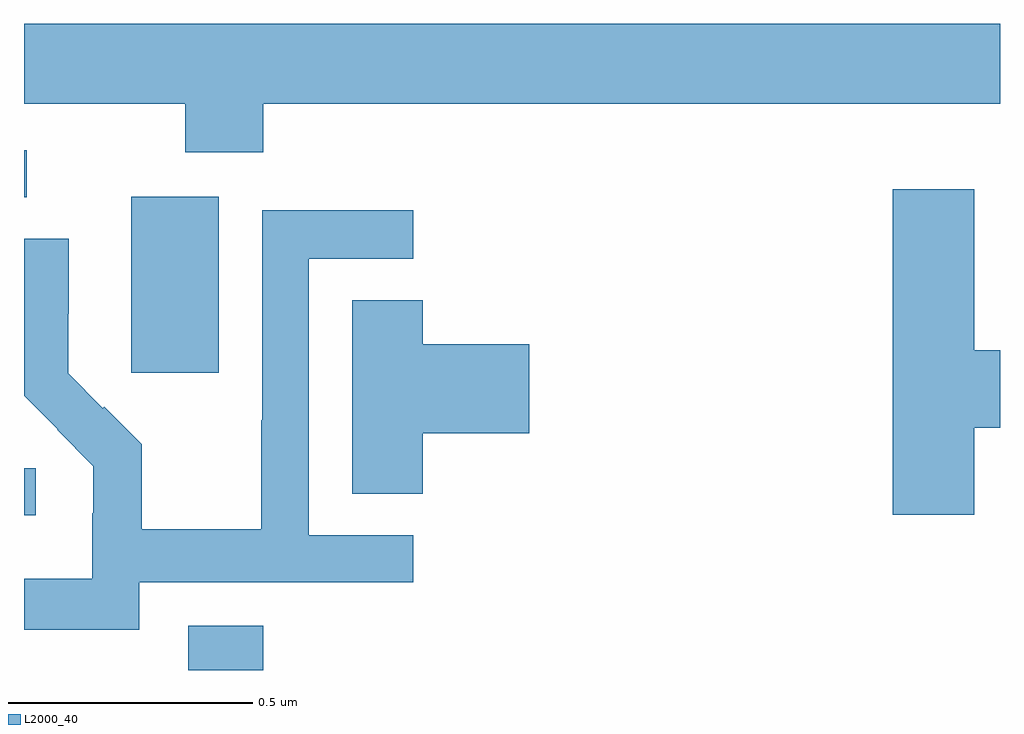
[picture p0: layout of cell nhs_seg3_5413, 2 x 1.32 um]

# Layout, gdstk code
import gdstk
lib = gdstk.Library(unit=1e-6, precision=1e-09)
def R(c, l, rs):  # rectangles x0, y0, x1, y1
    for r in rs: c.add(gdstk.rectangle(r[:2], r[2:], *l))
def P(c, l, *ps):  # polygons
    for p in ps: c.add(gdstk.Polygon(p, *l))
L2000_40 = (2000, 40)

nhs_seg3_5413 = lib.new_cell('nhs_seg3_5413')
R(nhs_seg3_5413, L2000_40, [(178.337,722.4,178.49,722.491), (178,722.717,178.024,722.814), (178.22,723.009,178.399,723.37), (178,723.369,178.006,723.465)])
P(nhs_seg3_5413, L2000_40, [(178.49,723.56),(180,723.56),(180,723.724),(178,723.724),(178,723.56),(178.33,723.56),(178.33,723.461),(178.49,723.461)],
  [(179.947,722.897),(180,722.897),(180,723.055),(179.947,723.055),(179.947,723.385),(179.78,723.385),(179.78,722.718),(179.947,722.718)],
  [(178.236,722.58),(178.798,722.58),(178.798,722.676),(178.584,722.676),(178.584,723.243),(178.798,723.243),(178.798,723.342),(178.488,723.342),(178.488,722.912),(178.486,722.912),(178.486,722.689),(178.241,722.689),(178.241,722.863),(178.164,722.94),(178.161,722.937),(178.091,723.008),(178.091,723.13),(178.092,723.13),(178.092,723.284),(178,723.284),(178,722.962),(178.069,722.893),(178.068,722.892),(178.142,722.818),(178.142,722.721),(178.14,722.721),(178.14,722.587),(178,722.587),(178,722.483),(178.236,722.483)],
  [(178.817,722.885),(179.035,722.885),(179.035,723.068),(178.817,723.068),(178.817,723.158),(178.673,723.158),(178.673,722.761),(178.817,722.761)])

lib.write_gds('nhs_seg3_5413.gds')
